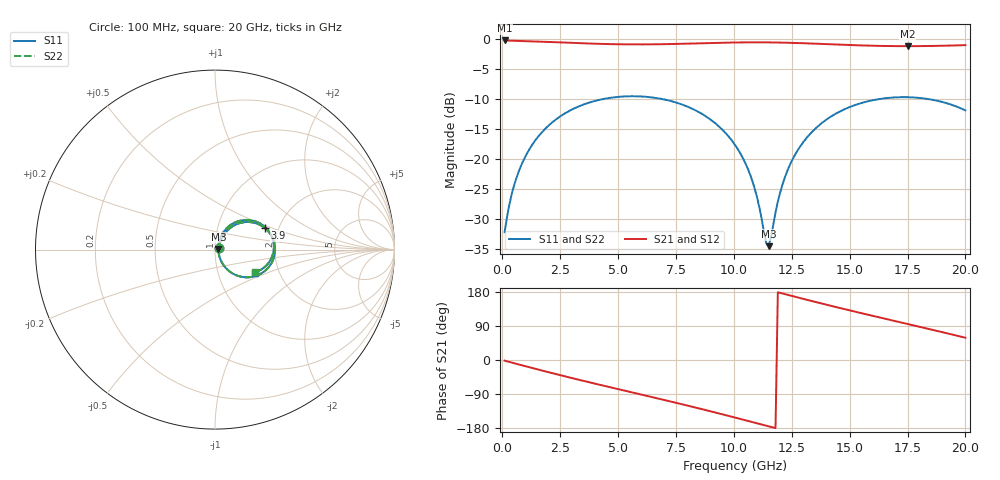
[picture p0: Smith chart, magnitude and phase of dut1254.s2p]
! Touchstone file exported from HFSS 2026.1.0
!  File:  C:/ffzhzh/LocalFiles/Ansys_Project_Files/temp_train_TSV_RDL_1254_1783325968_38820.aedt
!  Generated:  04:33:01 PM Jul  6, 2026
!  Design:  TSV_RDL
!  Project:  temp_train_TSV_RDL_1254_1783325968_38820
! Variables:
!  h_bsmrdl = 3.05um
!  h_ox = 20um
!  h_rdl = 5um
!  h_sub = 90.25um
!  h_tmrdl = 4.7um
!  h_tsv = 90.25um
!  h_via = 3um
!  l_bsmrdl = 562.25um
!  l_sub = 4936.13um
!  l_tmrdl = 682.39um
!  m_sub = 200um
!  pitch = 35.56um
!  r_tsv = 10.9um
!  s_tmrdl = 10um
!  w_bsmrdl = 19.05um
!  w_sub = 500um
!  w_tmrdl = 20.89um
!  x_tsv_center1 = 692.835um
!  x_tsv_center2 = 1274.135um
!  x_tsv_center3 = 1977.415um
!  x_tsv_center4 = 2558.715um
!  x_tsv_center5 = 3261.995um
!  x_tsv_center6 = 3843.295um
# GHz S MA R 50.000000
! Terminal data exported
! Port[1] = TM_RDL1_1_T1
! Port[2] = TM_RDL5_1_T1
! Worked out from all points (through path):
!   200 points, 100 MHz to 20 GHz, reference 50 ohm
!   highest |S21| = -0.19 dB at 100 MHz (marker M1); lowest = -1.1 dB at 17.5 GHz (marker M2)
!   group delay of S21, straight-line fit = 41.9 ps
!   lowest |S11| = -34.6 dB at 11.5 GHz (marker M3), VSWR 1.04, Z = 51.9 + j0.31 ohm
!   |S11| at or under -10 dB: start of sweep to 4.329 GHz; 6.932 GHz to 16.25 GHz (9.319 GHz wide, 80.4 % of centre); 18.43 GHz to end of sweep
!   |S22| runs from -34.9 to -9.5 dB; largest |S21 - S12| = 2.5e-14
!   S11 on the Smith chart (normalised r, x): 100 MHz: 1.04, +0.02; 3.9 GHz: 1.69, +0.45; 20 GHz: 1.50, -0.41
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0.1  0.02446 27.8  0.9787 -1.7  0.9787 -1.7  0.02446 27.8
! Gamma 0 0 0 0
! Port Impedance 50 0 50 0
0.5  0.05933 56.5  0.9734 -8.4  0.9734 -8.4  0.05933 56.5
1.2  0.1233 57.3  0.9647 -19.6  0.9647 -19.6  0.1233 57.3
2.2  0.2057 46.4  0.9487 -35.4  0.9487 -35.4  0.2057 46.4
3.5  0.2849 29.0  0.9264 -55.0  0.9264 -55.0  0.2849 29.0
3.9  0.3019 23.6  0.9205 -60.9  0.9205 -60.9  0.3019 23.6
5.3  0.3336 4.6  0.908 -81.1  0.908 -81.1  0.3336 4.6
6.8  0.3198 -15.6  0.9099 -102.7  0.9099 -102.7  0.3198 -15.7
8.7  0.2334 -41.4  0.9285 -130.9  0.9285 -130.9  0.2333 -41.5
10.1  0.1269 -58.6  0.9416 -152.6  0.9416 -152.6  0.1269 -58.8
10.8  0.06553 -61.3  0.9442 -163.8  0.9442 -163.8  0.06535 -61.8
11.1  0.0396 -54.4  0.9441 -168.6  0.9441 -168.6  0.0393 -55.2
11.4  0.01977 -17.3  0.9434 -173.4  0.9434 -173.4  0.01918 -17.9
11.5  0.0187 9.2  0.9429 -175.0  0.9429 -175.0  0.01809 9.5
11.9  0.04395 60.4  0.9405 178.7  0.9405 178.7  0.04371 61.2
12.3  0.07871 65.6  0.9368 172.3  0.9368 172.3  0.07859 66.1
13.4  0.1704 56.4  0.922 155.1  0.922 155.1  0.1704 56.6
15  0.2716 35.7  0.8965 131.0  0.8965 131.0  0.2716 35.9
16.7  0.3244 13.2  0.8787 106.5  0.8787 106.5  0.3244 13.3
17.5  0.3285 2.7  0.8767 95.1  0.8767 95.1  0.3285 2.8
18.8  0.3064 -14.4  0.8821 76.4  0.8821 76.4  0.3064 -14.3
20  0.2547 -30.1  0.8943 58.7  0.8943 58.7  0.2547 -29.9
